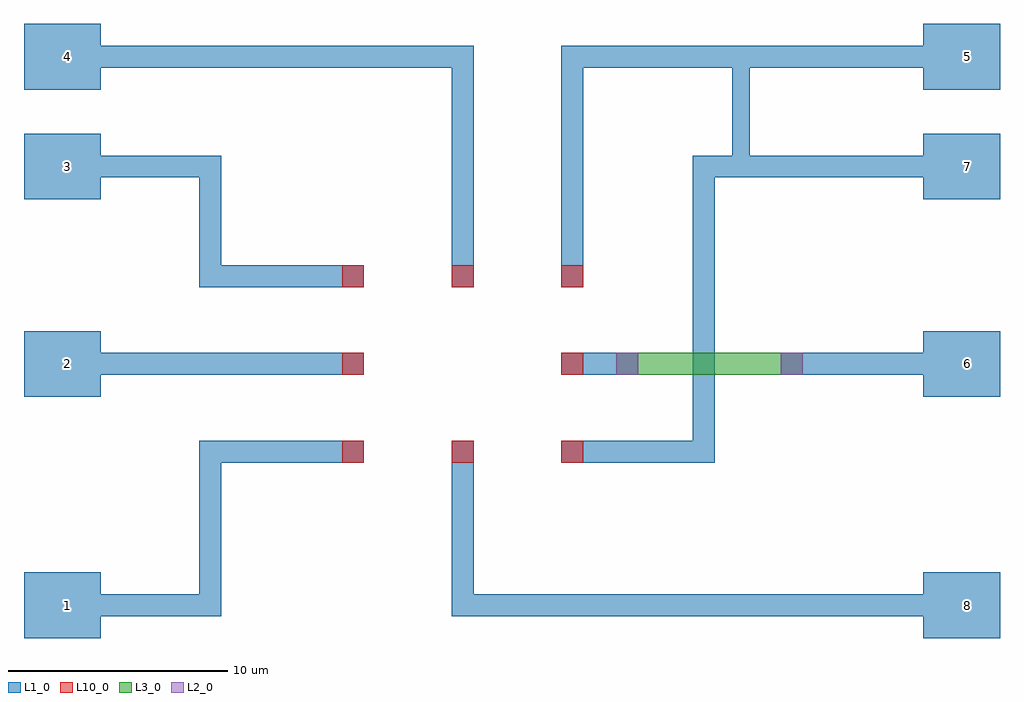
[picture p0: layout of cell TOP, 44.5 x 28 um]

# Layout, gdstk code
import gdstk
lib = gdstk.Library(unit=1e-6, precision=1e-09)
def R(c, l, rs):  # rectangles x0, y0, x1, y1
    for r in rs: c.add(gdstk.rectangle(r[:2], r[2:], *l))
def A(c, l, x, y, w, h, nx, ny, dx, dy):  # array of equal rectangles
    R(c, l, [(x+i*dx, y+j*dy, x+i*dx+w, y+j*dy+h) for i in range(nx) for j in range(ny)])
L1_0 = (1, 0)
L2_0 = (2, 0)
L3_0 = (3, 0)
L10_0 = (10, 0)

chip = lib.new_cell('CHIP')
A(chip, L10_0, -4, -6, 1, 1, 3, 2, 5, 8)
R(chip, L10_0, [(-4,-2,-3,-1), (6,-2,7,-1)])
chip.add(gdstk.Label('pad1', (-3.5,-5.5), layer=10, texttype=0))
chip.add(gdstk.Label('pad2', (-3.5,-1.5), layer=10, texttype=0))
chip.add(gdstk.Label('pad3', (-3.5,2.5), layer=10, texttype=0))
chip.add(gdstk.Label('pad4', (1.5,2.5), layer=10, texttype=0))
chip.add(gdstk.Label('pad5', (6.5,2.5), layer=10, texttype=0))
chip.add(gdstk.Label('pad6', (6.5,-1.5), layer=10, texttype=0))
chip.add(gdstk.Label('pad7', (6.5,-5.5), layer=10, texttype=0))
chip.add(gdstk.Label('pad8', (1.5,-5.5), layer=10, texttype=0))

top = lib.new_cell('TOP')
R(top, L1_0, [(-18.5,-14,-15,-11), (22.5,-14,26,-11), (-18.5,-3,-15,0), (22.5,-3,26,0), (-18.5,6,-15,9), (22.5,6,26,9), (13.8,7.5,14.59,12), (-18.5,11,-15,14), (22.5,11,26,14)])
R(top, L2_0, [(8.5,-2,9.5,-1), (16,-2,17,-1)])
A(top, L10_0, -4, -6, 1, 1, 3, 2, 5, 8)
R(top, L10_0, [(-4,-2,-3,-1), (6,-2,7,-1)])
top.add(gdstk.FlexPath([(-3.5,2.5),(-10,2.5),(-10,7.5),(-15,7.5)], 1, ends="extended", simple_path=True, layer=1, datatype=0))  # L1_0
top.add(gdstk.FlexPath([(1.5,2.5),(1.5,12),(1.5,12.5),(-15,12.5)], 1, ends="extended", simple_path=True, layer=1, datatype=0))  # L1_0
top.add(gdstk.FlexPath([(-3.5,-1.5),(-15,-1.5)], 1, ends="extended", simple_path=True, layer=1, datatype=0))  # L1_0
top.add(gdstk.FlexPath([(-3.5,-5.5),(-10,-5.5),(-10,-12.5),(-15,-12.5)], 1, ends="extended", simple_path=True, layer=1, datatype=0))  # L1_0
top.add(gdstk.FlexPath([(1.5,-5.5),(1.5,-12.5),(22.5,-12.5)], 1, ends="extended", simple_path=True, layer=1, datatype=0))  # L1_0
top.add(gdstk.FlexPath([(6.5,-5.5),(12.5,-5.5),(12.5,7.5),(22.5,7.5)], 1, ends="extended", simple_path=True, layer=1, datatype=0))  # L1_0
top.add(gdstk.FlexPath([(6.5,2.5),(6.5,12.5),(22.5,12.5)], 1, ends="extended", simple_path=True, layer=1, datatype=0))  # L1_0
top.add(gdstk.FlexPath([(6.5,-1.5),(9,-1.5)], 1, ends="extended", simple_path=True, layer=1, datatype=0))  # L1_0
top.add(gdstk.FlexPath([(16.5,-1.5),(22.5,-1.5)], 1, ends="extended", simple_path=True, layer=1, datatype=0))  # L1_0
top.add(gdstk.FlexPath([(9,-1.5),(16.5,-1.5),(16.5,-1.5)], 1, ends="extended", simple_path=True, layer=3, datatype=0))  # L3_0
top.add(gdstk.Reference(chip, (0,0)))
top.add(gdstk.Label('3', (-16.5,7.5), layer=1, texttype=0))
top.add(gdstk.Label('4', (-16.5,12.5), layer=1, texttype=0))
top.add(gdstk.Label('1', (-16.5,-12.5), layer=1, texttype=0))
top.add(gdstk.Label('2', (-16.5,-1.5), layer=1, texttype=0))
top.add(gdstk.Label('5', (24.5,12.5), layer=1, texttype=0))
top.add(gdstk.Label('6', (24.5,-1.5), layer=1, texttype=0))
top.add(gdstk.Label('7', (24.5,7.5), layer=1, texttype=0))
top.add(gdstk.Label('8', (24.5,-12.5), layer=1, texttype=0))

lib.write_gds('TOP.gds')
